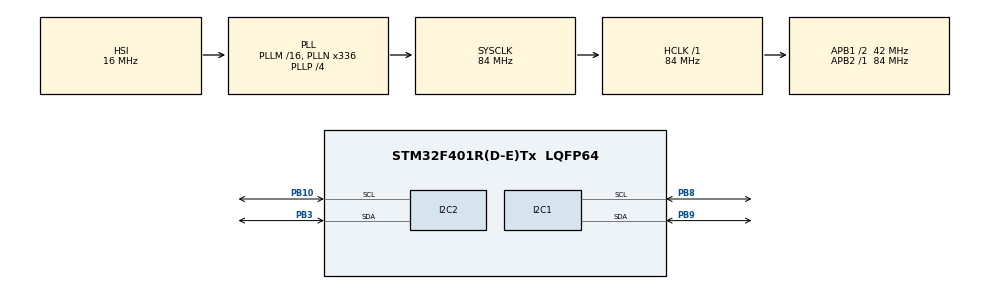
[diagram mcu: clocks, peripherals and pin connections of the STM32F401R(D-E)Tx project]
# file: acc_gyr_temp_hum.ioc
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Mcu.Family=STM32F4
Mcu.Name=STM32F401R(D-E)Tx
Mcu.Package=LQFP64
NVIC.PriorityGroup=NVIC_PRIORITYGROUP_4
PA13.Mode=Serial_Wire
PA13.Signal=SYS_JTMS-SWDIO
PA14.Mode=Serial_Wire
PA14.Signal=SYS_JTCK-SWCLK
PB10.Mode=I2C
PB10.Signal=I2C2_SCL
PB3.Mode=I2C
PB3.Signal=I2C2_SDA
PB8.Mode=I2C
PB8.Signal=I2C1_SCL
PB9.Mode=I2C
PB9.Signal=I2C1_SDA
ProjectManager.HeapSize=0x200
ProjectManager.StackSize=0x400
ProjectManager.TargetToolchain=STM32CubeIDE
RCC.48MHZClocksFreq_Value=84000000
RCC.AHBFreq_Value=84000000
RCC.APB1CLKDivider=RCC_HCLK_DIV2
RCC.APB1Freq_Value=42000000
RCC.APB1TimFreq_Value=84000000
RCC.APB2Freq_Value=84000000
RCC.APB2TimFreq_Value=84000000
RCC.CortexFreq_Value=84000000
RCC.HCLKFreq_Value=84000000
RCC.HSE_VALUE=25000000
RCC.HSI_VALUE=16000000
RCC.LSE_VALUE=32768
RCC.PLLN=336
RCC.PLLP=RCC_PLLP_DIV4
RCC.SYSCLKFreq_VALUE=84000000
RCC.SYSCLKSource=RCC_SYSCLKSOURCE_PLLCLK
RCC.VCOOutputFreq_Value=336000000
board=custom

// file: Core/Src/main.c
/* USER CODE BEGIN Header */
/**
  ******************************************************************************
  * @file           : main.c
  * @brief          : Main program body
  ******************************************************************************
  * @attention
  *
  * <h2><center>&copy; Copyright (c) 2020 STMicroelectronics.
  * All rights reserved.</center></h2>
  *
  * This software component is licensed by ST under BSD 3-Clause license,
  * the "License"; You may not use this file except in compliance with the
  * License. You may obtain a copy of the License at:
  *                        opensource.org/licenses/BSD-3-Clause
  *
  ******************************************************************************
  */
/* USER CODE END Header */
#include "main.h"

I2C_HandleTypeDef hi2c1;
I2C_HandleTypeDef hi2c2;

void SystemClock_Config(void);
static void MX_GPIO_Init(void);
static void MX_I2C1_Init(void);
static void MX_I2C2_Init(void);

/* USER CODE BEGIN 0 */
#define acc_gyr_address 0xD7
#define CTRL3_C 0x12 // control register for incrementing
#define acc_on_reg 0x10 // acc mode (turns on acc)
#define CTRL6_C 0x15 // control register for acc modes
#define OUTX_L_G 0x22 // first register of gyr reading
uint8_t reg_increment[1] = {0x04}; // register increment
uint8_t acc_gyr_on_values[2] = {0x50, 0x50}; // turn on acc and gyr
uint8_t acc_gyr_modes[2] = {0x10,0x80}; // low/normal modes for acc and gyr
uint8_t data_acc_gyr[12]; // data received from acc and gyr sensors
int16_t unpacked[6], acc_xx, acc_yy, acc_zz, gyr_xx, gyr_yy, gyr_zz;

//temperature and humidity variables
/*
#define temp_hum_address 0xBC
#define writing_th 0xBE
#define reading_th 0xBF
uint8_t hum_temp_on[2] ={0x20, 0x83}; //turn on sensor + 12.5Hz, NOT one-shot
uint8_t HUMIDITY_OUT_L[1] = {0x28};
uint8_t data_temp_hum[4];
uint8_t who_am_I_reg[1] = {0x0F};
uint8_t whoami[1];
int16_t unpacked_temp_hum[2], temp, hum;
*/
//magnetometer variables
#define magn_address 0x33 // magnetometer sensor adress
#define reading_magn 0x3D // adress to read from magn sensor registers
#define writing_magn 0x3C // address to write to magn sensor registers
#define magn_on_mode 0x60 // control register to turn on magnetometer
#define OUTX_L_REG_M 0x68|0x80 // magnetometer XX YY ZZ
uint8_t magn_on[1] = {0x1C}; // continuous/single measurement mode
uint8_t data_magn[6];
int16_t unpacked_magn[3], magn_x, magn_y, magn_z;

//ACC
#define writing_acc2 0x32 // address to write to acc registers
#define reading_acc2 0x33 // address to read from acc registers
#define CTRL_REG1_A 0x20 // modes register
#define reg_out_acc2 0x28 // first register to output data
uint8_t reg[1] = {0x57}; // normal mode on
uint8_t data_acc2[12];
int32_t unpacked_acc2[3];

uint16_t checkout;
/* USER CODE END 0 */

int main(void)
{

  /* MCU Configuration--------------------------------------------------------*/

  /* Reset of all peripherals, Initializes the Flash interface and the Systick. */
  HAL_Init();

  /* Configure the system clock */
  SystemClock_Config();

  /* Initialize all configured peripherals */
  MX_GPIO_Init();
  MX_I2C1_Init();
  MX_I2C2_Init();

  /* Infinite loop */
  while (1)
    {

  	  /* USERC CODE BEGIN 3 */

      /* USER CODE BEGIN 3 */
	  //________________ READING DATA FROM ACCELEROMETER AND GYROSCOPE
	  // Turn on acc and reg, auto increment, set low/normal modes for acc and gyr, read data
	  	  HAL_I2C_Mem_Write(&hi2c1, acc_gyr_address, acc_on_reg, 1, acc_gyr_on_values, 2, 10);
	   	  HAL_Delay(30);
	   	  HAL_I2C_Mem_Write(&hi2c1, acc_gyr_address, CTRL3_C, 1, reg_increment, 1, 10);
	   	  HAL_Delay(30);
	   	  HAL_I2C_Mem_Write(&hi2c1, acc_gyr_address, CTRL6_C, 1, acc_gyr_modes, 2, 10);
	   	  HAL_Delay(30);
	   	  HAL_I2C_Mem_Read(&hi2c1, acc_gyr_address, OUTX_L_G, 1, data_acc_gyr, 12, 10);
	   	  HAL_Delay(30);
	   	  //____________ UNPACKING DATA FROM ACCELEROMETER AND GYROSCOPE
	   	  int k = 0;
	   	  for (int i = 0; i < 6; i++) { unpacked[i] = (data_acc_gyr[k+1] << 8) | data_acc_gyr[k]; k=k+2; }
	   	  gyr_xx=unpacked[0]*8.75/1000;
	   	  gyr_yy=unpacked[1]*8.75/1000;
	   	  gyr_zz=unpacked[2]*8.75/1000;
	   	  acc_xx=unpacked[3]*0.061;
	   	  acc_yy=unpacked[4]*0.061;
	   	  acc_zz=unpacked[5]*0.061;

	   	  //____________________READING DATA FROM TEMPERATURE AND HUMIDITY SENSOR
	   	  /*
	   	  HAL_I2C_Master_Transmit(&hi2c1, writing_th, who_am_I_reg, 1, 10);
	   	  HAL_Delay(30);
	   	  HAL_I2C_Master_Receive(&hi2c1, reading_th, whoami, 1, 10);
	   	  HAL_Delay(30);
	   	  HAL_I2C_Master_Transmit(&hi2c1, writing_th, hum_temp_on, 2, 10);
	   	  HAL_Delay(30);
	   	  HAL_I2C_Master_Transmit(&hi2c1, writing_th, HUMIDITY_OUT_L, 1, 10);
	   	  HAL_Delay(30);
	   	  HAL_I2C_Master_Receive(&hi2c1, reading_th, data_temp_hum, 4, 10);
	   	  HAL_Delay(03);
	   	  //___________________UNPACKING DATA FROM TEMPERATURE AND HUMIDITY SENSOR
	   	  k=0;
	   	  for (int i = 0; i < 2; i++) { unpacked_temp_hum[i] = (data_temp_hum[k+1] << 8) | data_temp_hum[k]; k=k+2; }
	   	  hum=unpacked_temp_hum[0];
	   	  temp=unpacked_temp_hum[1];
	   	  */
	   	  //___________________CONVERTING DATA (linear interpolation)

	   	  //___________________READING DATA FROM AKSELEROMETER AND MANGETOMETER

	   	  HAL_I2C_Mem_Write(&hi2c1, writing_magn, magn_on_mode, 1, magn_on, 1, 10);
	   	  HAL_Delay(30);
	   	  HAL_I2C_Mem_Read(&hi2c1, reading_magn, OUTX_L_REG_M, 1, data_magn, 6, 10);
	      HAL_Delay(03);
	      //___________________UNPACKING DATA, MAGNETOMETER
	      k=0;
	      for (int i = 0; i < 3; i++) { unpacked_magn[i] = (data_magn[k+1] << 8) | data_magn[k]; k=k+2; }
	      magn_x=unpacked_magn[0];
	      magn_y=unpacked_magn[1];
	      magn_z=unpacked_magn[2];
	      //___________________READING DATA FROM ACCELEROMETER
	      HAL_I2C_Mem_Write(&hi2c1, writing_acc2, CTRL_REG1_A, 1, reg, 1, 10);
	      HAL_Delay(10);
	      HAL_I2C_Mem_Read(&hi2c1, reading_acc2, reg_out_acc2, 1, data_acc2, 12, 10);
	      HAL_Delay(10);
	      // twos complement left-justified xxxx xxxx xx00 0000
	      unpacked_acc2[0] = ((data_acc2[3] & 0xC0) << 18) | (data_acc2[2] << 10 ) | ((data_acc2[1] & 0xC0) << 8) | data_acc2[0];
	      unpacked_acc2[1] = ((data_acc2[7] & 0xC0) << 18) | (data_acc2[6] << 10 ) | ((data_acc2[5] & 0xC0) << 8) | data_acc2[4];
	      unpacked_acc2[2] = ((data_acc2[11] & 0xC0) << 18) | (data_acc2[10] << 10 ) | ((data_acc2[9] & 0xC0) << 8) | data_acc2[8];
    }
  /* USER CODE END 3 */
}

void SystemClock_Config(void)
{
  RCC_OscInitTypeDef RCC_OscInitStruct = {0};
  RCC_ClkInitTypeDef RCC_ClkInitStruct = {0};

  /** Configure the main internal regulator output voltage
  */
  __HAL_RCC_PWR_CLK_ENABLE();
  __HAL_PWR_VOLTAGESCALING_CONFIG(PWR_REGULATOR_VOLTAGE_SCALE2);
  /** Initializes the RCC Oscillators according to the specified parameters
  * in the RCC_OscInitTypeDef structure.
  */
  RCC_OscInitStruct.OscillatorType = RCC_OSCILLATORTYPE_HSI;
  RCC_OscInitStruct.HSIState = RCC_HSI_ON;
  RCC_OscInitStruct.HSICalibrationValue = RCC_HSICALIBRATION_DEFAULT;
  RCC_OscInitStruct.PLL.PLLState = RCC_PLL_ON;
  RCC_OscInitStruct.PLL.PLLSource = RCC_PLLSOURCE_HSI;
  RCC_OscInitStruct.PLL.PLLM = 16;
  RCC_OscInitStruct.PLL.PLLN = 336;
  RCC_OscInitStruct.PLL.PLLP = RCC_PLLP_DIV4;
  RCC_OscInitStruct.PLL.PLLQ = 4;
  if (HAL_RCC_OscConfig(&RCC_OscInitStruct) != HAL_OK)
  {
    Error_Handler();
  }
  /** Initializes the CPU, AHB and APB buses clocks
  */
  RCC_ClkInitStruct.ClockType = RCC_CLOCKTYPE_HCLK|RCC_CLOCKTYPE_SYSCLK
                              |RCC_CLOCKTYPE_PCLK1|RCC_CLOCKTYPE_PCLK2;
  RCC_ClkInitStruct.SYSCLKSource = RCC_SYSCLKSOURCE_PLLCLK;
  RCC_ClkInitStruct.AHBCLKDivider = RCC_SYSCLK_DIV1;
  RCC_ClkInitStruct.APB1CLKDivider = RCC_HCLK_DIV2;
  RCC_ClkInitStruct.APB2CLKDivider = RCC_HCLK_DIV1;

  if (HAL_RCC_ClockConfig(&RCC_ClkInitStruct, FLASH_LATENCY_2) != HAL_OK)
  {
    Error_Handler();
  }
}

static void MX_I2C1_Init(void)
{

  hi2c1.Instance = I2C1;
  hi2c1.Init.ClockSpeed = 100000;
  hi2c1.Init.DutyCycle = I2C_DUTYCYCLE_2;
  hi2c1.Init.OwnAddress1 = 0;
  hi2c1.Init.AddressingMode = I2C_ADDRESSINGMODE_7BIT;
  hi2c1.Init.DualAddressMode = I2C_DUALADDRESS_DISABLE;
  hi2c1.Init.OwnAddress2 = 0;
  hi2c1.Init.GeneralCallMode = I2C_GENERALCALL_DISABLE;
  hi2c1.Init.NoStretchMode = I2C_NOSTRETCH_DISABLE;
  if (HAL_I2C_Init(&hi2c1) != HAL_OK)
  {
    Error_Handler();
  }

}

static void MX_I2C2_Init(void)
{

  hi2c2.Instance = I2C2;
  hi2c2.Init.ClockSpeed = 100000;
  hi2c2.Init.DutyCycle = I2C_DUTYCYCLE_2;
  hi2c2.Init.OwnAddress1 = 0;
  hi2c2.Init.AddressingMode = I2C_ADDRESSINGMODE_7BIT;
  hi2c2.Init.DualAddressMode = I2C_DUALADDRESS_DISABLE;
  hi2c2.Init.OwnAddress2 = 0;
  hi2c2.Init.GeneralCallMode = I2C_GENERALCALL_DISABLE;
  hi2c2.Init.NoStretchMode = I2C_NOSTRETCH_DISABLE;
  if (HAL_I2C_Init(&hi2c2) != HAL_OK)
  {
    Error_Handler();
  }

}

static void MX_GPIO_Init(void)
{

  /* GPIO Ports Clock Enable */
  __HAL_RCC_GPIOB_CLK_ENABLE();
  __HAL_RCC_GPIOA_CLK_ENABLE();

}

void Error_Handler(void)
{
}

/************************ (C) COPYRIGHT STMicroelectronics *****END OF FILE****/
